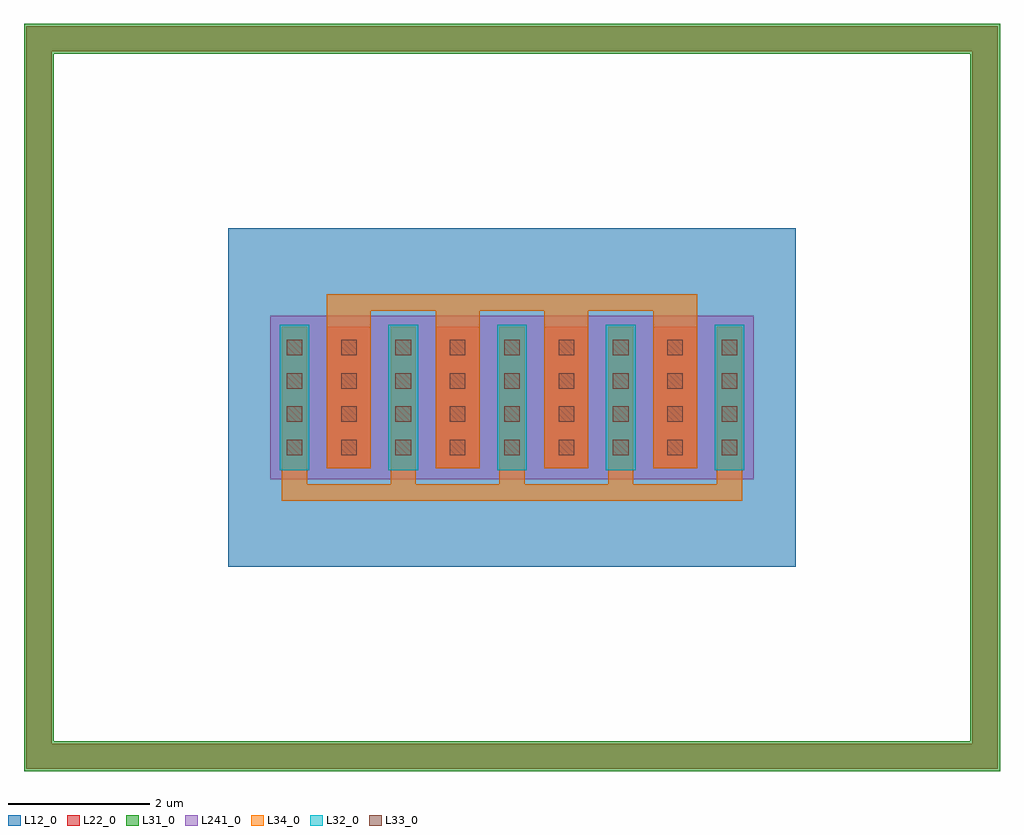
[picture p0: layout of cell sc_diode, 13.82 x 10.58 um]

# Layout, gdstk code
import gdstk
lib = gdstk.Library(unit=1e-6, precision=1e-09)
def R(c, l, rs):  # rectangles x0, y0, x1, y1
    for r in rs: c.add(gdstk.rectangle(r[:2], r[2:], *l))
def A(c, l, x, y, w, h, nx, ny, dx, dy):  # array of equal rectangles
    R(c, l, [(x+i*dx, y+j*dy, x+i*dx+w, y+j*dy+h) for i in range(nx) for j in range(ny)])
def P(c, l, *ps):  # polygons
    for p in ps: c.add(gdstk.Polygon(p, *l))
L12_0 = (12, 0)
L22_0 = (22, 0)
L31_0 = (31, 0)
L32_0 = (32, 0)
L33_0 = (33, 0)
L34_0 = (34, 0)
L241_0 = (241, 0)

sc_diode = lib.new_cell('sc_diode')
R(sc_diode, L12_0, [(-0.76,-1.4,7.28,3.4)])
A(sc_diode, L22_0, 0, 0, 0.36, 2, 5, 1, 1.54, 0)
A(sc_diode, L22_0, 0.64, 0, 0.62, 2, 4, 1, 1.54, 0)
P(sc_diode, L22_0, [(-3.62,-4.26),(-3.62,5.9),(-3.26,5.9),(-3.26,-3.9),(9.78,-3.9),(9.78,5.9),(-3.62,5.9),(-3.62,6.26),(10.14,6.26),(10.14,-4.26)])
P(sc_diode, L31_0, [(-3.65,-4.29),(-3.65,5.87),(-3.23,5.87),(-3.23,-3.87),(9.75,-3.87),(9.75,5.87),(-3.65,5.87),(-3.65,6.29),(10.17,6.29),(10.17,-4.29)])
A(sc_diode, L32_0, -0.03, -0.03, 0.42, 2.06, 5, 1, 1.54, 0)
A(sc_diode, L33_0, 0.07, 0.185, 0.22, 0.22, 9, 4, 0.77, 0.47)
A(sc_diode, L34_0, 0, -0.23, 0.36, 2.23, 5, 1, 1.54, 0)
A(sc_diode, L34_0, 0.64, 0, 0.62, 2.23, 4, 1, 1.54, 0)
R(sc_diode, L34_0, [(0,-0.46,6.52,-0.23), (0.64,2.23,5.88,2.46)])
R(sc_diode, L241_0, [(-0.16,-0.16,6.68,2.16)])

lib.write_gds('sc_diode.gds')
